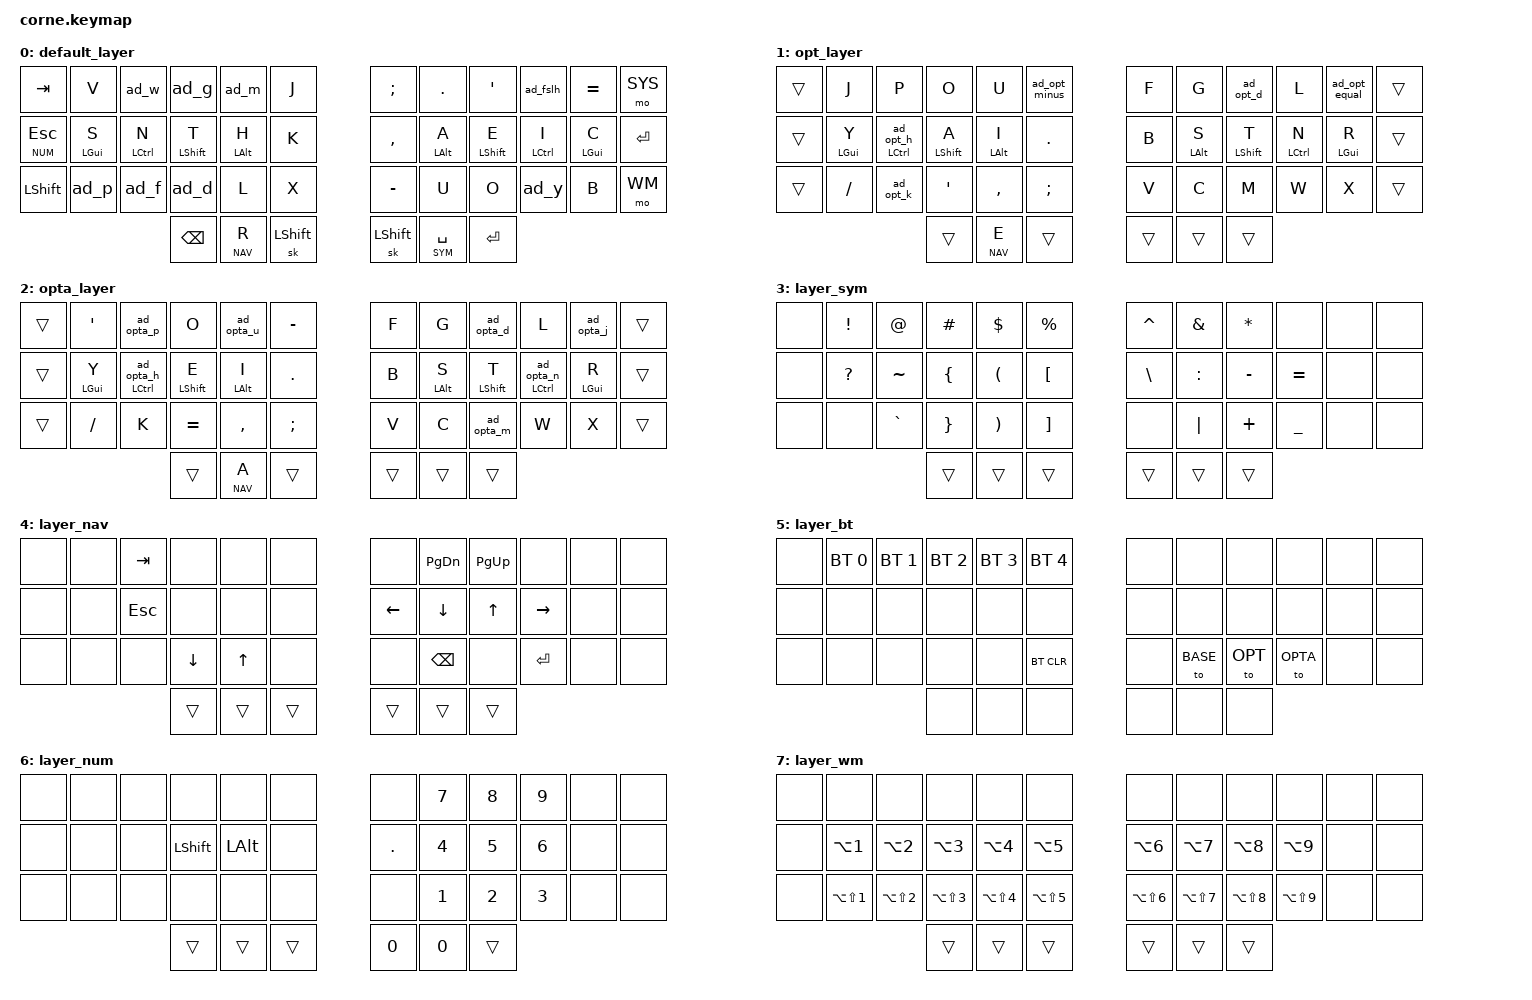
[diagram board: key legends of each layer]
/*
 * Copyright (c) 2020 The ZMK Contributors
 *
 * SPDX-License-Identifier: MIT
 */

#include <behaviors.dtsi>
#include <dt-bindings/zmk/keys.h>
#include <dt-bindings/zmk/bt.h>

#define BASE 0
#define OPT  1
#define OPTA 2
#define SYM  3
#define NAV  4
#define SYS  5
#define NUM  6
#define WM   7

&sk {
    release-after-ms = <1000>;
    quick-release;
};

/ {
    macros {
        m_wh: m_wh {
            compatible = "zmk,behavior-macro";
            #binding-cells = <0>;
            wait-ms = <0>;
            tap-ms = <0>;
            bindings = <&macro_tap &kp W &kp H>;
        };
        m_th: m_th {
            compatible = "zmk,behavior-macro";
            #binding-cells = <0>;
            wait-ms = <0>;
            tap-ms = <0>;
            bindings = <&macro_tap &kp T &kp H>;
        };
        m_ch: m_ch {
            compatible = "zmk,behavior-macro";
            #binding-cells = <0>;
            wait-ms = <0>;
            tap-ms = <0>;
            bindings = <&macro_tap &kp C &kp H>;
        };
        m_sh: m_sh {
            compatible = "zmk,behavior-macro";
            #binding-cells = <0>;
            wait-ms = <0>;
            tap-ms = <0>;
            bindings = <&macro_tap &kp S &kp H>;
        };
        m_ph: m_ph {
            compatible = "zmk,behavior-macro";
            #binding-cells = <0>;
            wait-ms = <0>;
            tap-ms = <0>;
            bindings = <&macro_tap &kp P &kp H>;
        };
        m_gh: m_gh {
            compatible = "zmk,behavior-macro";
            #binding-cells = <0>;
            wait-ms = <0>;
            tap-ms = <0>;
            bindings = <&macro_tap &kp G &kp H>;
        };
        m_qu: m_qu {
            compatible = "zmk,behavior-macro";
            #binding-cells = <0>;
            wait-ms = <0>;
            tap-ms = <0>;
            bindings = <&macro_tap &kp Q &kp U>;
        };
        m_lg: m_lg {
            compatible = "zmk,behavior-macro";
            #binding-cells = <0>;
            wait-ms = <0>;
            tap-ms = <0>;
            bindings = <&macro_tap &kp BSPC &kp L &kp G>;
        };
        m_mp: m_mp {
            compatible = "zmk,behavior-macro";
            #binding-cells = <0>;
            wait-ms = <0>;
            tap-ms = <0>;
            bindings = <&macro_tap &kp BSPC &kp M &kp P>;
        };
        m_wd: m_wd {
            compatible = "zmk,behavior-macro";
            #binding-cells = <0>;
            wait-ms = <0>;
            tap-ms = <0>;
            bindings = <&macro_tap &kp BSPC &kp W &kp D>;
        };
        m_pg: m_pg {
            compatible = "zmk,behavior-macro";
            #binding-cells = <0>;
            wait-ms = <0>;
            tap-ms = <0>;
            bindings = <&macro_tap &kp BSPC &kp P &kp G>;
        };
        m_iw: m_iw {
            compatible = "zmk,behavior-macro";
            #binding-cells = <0>;
            wait-ms = <0>;
            tap-ms = <0>;
            bindings = <&macro_tap &kp BSPC &kp I &kp W>;
        };
        m_sp: m_sp {
            compatible = "zmk,behavior-macro";
            #binding-cells = <0>;
            wait-ms = <0>;
            tap-ms = <0>;
            bindings = <&macro_tap &kp BSPC &kp S &kp P>;
        };
    };

    combos {
        compatible = "zmk,combos";
        combo_z {
            timeout-ms = <45>;
            layers = <BASE>;
            key-positions = <2 3>;
            bindings = <&kp Z>;
        };
        combo_q {
            timeout-ms = <45>;
            layers = <BASE>;
            key-positions = <3 4>;
            bindings = <&kp Q>;
        };
        combo_qu {
            timeout-ms = <45>;
            layers = <BASE>;
            key-positions = <2 4>;
            bindings = <&m_qu>;
        };
        // OPT and OPTA layers: same finger pattern as BASE, mirrored onto the right bottom row
        // (C index, M middle, W ring); these letter pairs are under 0.01% of English bigrams
        combo_z_opt {
            timeout-ms = <45>;
            layers = <OPT OPTA>;
            key-positions = <32 33>; // M + W
            bindings = <&kp Z>;
        };
        combo_q_opt {
            timeout-ms = <45>;
            layers = <OPT OPTA>;
            key-positions = <31 32>; // C + M
            bindings = <&kp Q>;
        };
        combo_qu_opt {
            timeout-ms = <45>;
            layers = <OPT OPTA>;
            key-positions = <31 33>; // C + W
            bindings = <&m_qu>;
        };
    };

    behaviors {
        hm: homerow_mods {
            compatible = "zmk,behavior-hold-tap";
            label = "HOMEROW_MODS";
            #binding-cells = <2>;
            tapping-term-ms = <200>;
            quick_tap_ms = <175>;
            flavor = "tap-preferred";
            bindings = <&kp>, <&kp>;
        };

        ad_m: adaptive_m {
            compatible = "zmk,behavior-antecedent-morph";
            label = "ADAPTIVE_M";
            #binding-cells = <0>;
            defaults = <&kp M>;
            bindings = <&kp L>, <&kp L>;
            antecedents = <G P>;
            max-delay-ms = <200>;
        };

        ad_g: adaptive_g {
            compatible = "zmk,behavior-antecedent-morph";
            label = "ADAPTIVE_G";
            #binding-cells = <0>;
            defaults = <&kp G>;
            bindings = <&m_lg>, <&m_pg>;
            antecedents = <M W>;
            max-delay-ms = <200>;
        };

        ad_ha: adaptive_ha {
            compatible = "zmk,behavior-antecedent-morph";
            label = "ADAPTIVE_H";
            #binding-cells = <0>;
            defaults = <&kp H>;
            bindings = <&kp U>, <&kp U>;
            antecedents = <A>;
            max-delay-ms = <200>;
        };

        ad_a: adaptive_a {
            compatible = "zmk,behavior-antecedent-morph";
            label = "ADAPTIVE_A";
            #binding-cells = <0>;
            defaults = <&kp A>;
            bindings = <&kp U>, <&kp U>;
            antecedents = <H>;
            max-delay-ms = <200>;
        };

        ad_f: adaptive_f {
            compatible = "zmk,behavior-antecedent-morph";
            label = "ADAPTIVE_F";
            #binding-cells = <0>;
            defaults = <&kp F>;
            bindings = <&kp G>, <&kp S>;
            antecedents = <D B>;
            max-delay-ms = <200>;
        };

        ad_p: adaptive_p {
            compatible = "zmk,behavior-antecedent-morph";
            label = "ADAPTIVE_P";
            #binding-cells = <0>;
            defaults = <&kp P>;
            bindings = <&m_sp>;
            antecedents = <F>;
            max-delay-ms = <200>;
        };

        ad_y: adaptive_y {
            compatible = "zmk,behavior-antecedent-morph";
            label = "ADAPTIVE_Y";
            #binding-cells = <0>;
            defaults = <&kp Y>;
            bindings = <&kp I>;
            antecedents = <W>;
            max-delay-ms = <200>;
        };

        ad_w: adaptive_w {
            compatible = "zmk,behavior-antecedent-morph";
            label = "ADAPTIVE_W";
            #binding-cells = <0>;
            defaults = <&kp W>;
            bindings = <&m_iw>;
            antecedents = <Y>;
            max-delay-ms = <200>;
        };

        ad_d: adaptive_d {
            compatible = "zmk,behavior-antecedent-morph";
            label = "ADAPTIVE_D";
            #binding-cells = <0>;
            defaults = <&kp D>;
            bindings = <&m_wd>;
            antecedents = <F>;
            max-delay-ms = <200>;
        };

        ad_fslh: adaptive_fslh {
            compatible = "zmk,behavior-antecedent-morph";
            label = "ADAPTIVE_FSLH";
            #binding-cells = <0>;
            defaults = <&kp FSLH>;
            bindings = <&kp U>;
            antecedents = <A>;
            max-delay-ms = <200>;
        };

        // OPT layer adaptives: the four that remove the most same-finger load (sc, wn, bl, ui)
        ad_opt_d: adaptive_opt_d {
            compatible = "zmk,behavior-antecedent-morph";
            #binding-cells = <0>;
            defaults = <&kp D>;
            bindings = <&kp C>;       // S then D types "sc"
            antecedents = <S>;
            max-delay-ms = <200>;
        };

        ad_opt_k: adaptive_opt_k {
            compatible = "zmk,behavior-antecedent-morph";
            #binding-cells = <0>;
            defaults = <&kp K>;
            bindings = <&kp N>;       // W then K types "wn"
            antecedents = <W>;
            max-delay-ms = <200>;
        };

        ad_opt_h: adaptive_opt_h {
            compatible = "zmk,behavior-antecedent-morph";
            #binding-cells = <0>;
            defaults = <&kp H>;
            bindings = <&kp L>, <&kp I>, <&kp M>;   // B,H -> "bl"   U,H -> "ui"   L,H -> "lm"
            antecedents = <B U L>;
            max-delay-ms = <200>;
        };

        ad_opt_minus: adaptive_opt_minus {
            compatible = "zmk,behavior-antecedent-morph";
            #binding-cells = <0>;
            defaults = <&kp MINUS>;
            bindings = <&kp E>;       // E then - types "ee" (no double-tap on the thumb)
            antecedents = <E>;
            max-delay-ms = <200>;     // a little longer: thumb-to-index rolls start from a layer-tap
        };

        ad_opt_equal: adaptive_opt_equal {
            compatible = "zmk,behavior-antecedent-morph";
            #binding-cells = <0>;
            defaults = <&kp EQUAL>;
            bindings = <&kp K>;       // O then = types "ok" (no ring/middle scissor)
            antecedents = <O>;
            max-delay-ms = <200>;
        };

        // home-row mod whose tap is the adaptive H (used as &hm_opt_h LCTRL 0)
        hm_opt_h: homerow_mod_opt_h {
            compatible = "zmk,behavior-hold-tap";
            #binding-cells = <2>;
            tapping-term-ms = <200>;
            quick-tap-ms = <175>;
            flavor = "tap-preferred";
            bindings = <&kp>, <&ad_opt_h>;
        };

        // OPTA layer adaptives (analyzer greedy search): sc, bl, ui, wn, cl, eo, ph, ok
        ad_opta_d: adaptive_opta_d {
            compatible = "zmk,behavior-antecedent-morph";
            #binding-cells = <0>;
            defaults = <&kp D>;
            bindings = <&kp C>;       // S then D types "sc"
            antecedents = <S>;
            max-delay-ms = <200>;
        };

        ad_opta_h: adaptive_opta_h {
            compatible = "zmk,behavior-antecedent-morph";
            #binding-cells = <0>;
            defaults = <&kp H>;
            bindings = <&kp L>, <&kp I>;   // B,H -> "bl"   U,H -> "ui"
            antecedents = <B U>;
            max-delay-ms = <200>;
        };

        ad_opta_m: adaptive_opta_m {
            compatible = "zmk,behavior-antecedent-morph";
            #binding-cells = <0>;
            defaults = <&kp M>;
            bindings = <&kp N>;       // W then M types "wn"
            antecedents = <W>;
            max-delay-ms = <200>;
        };

        ad_opta_p: adaptive_opta_p {
            compatible = "zmk,behavior-antecedent-morph";
            #binding-cells = <0>;
            defaults = <&kp P>;
            bindings = <&kp L>;       // C then P types "cl" (no index-to-ring scissor)
            antecedents = <C>;
            max-delay-ms = <200>;
        };

        ad_opta_u: adaptive_opta_u {
            compatible = "zmk,behavior-antecedent-morph";
            #binding-cells = <0>;
            defaults = <&kp U>;
            bindings = <&kp O>;       // E then U types "eo" (for "eu", pause after E)
            antecedents = <E>;
            max-delay-ms = <200>;
        };

        ad_opta_n: adaptive_opta_n {
            compatible = "zmk,behavior-antecedent-morph";
            #binding-cells = <0>;
            defaults = <&kp N>;
            bindings = <&kp H>;       // P then N types "ph"
            antecedents = <P>;
            max-delay-ms = <200>;
        };

        ad_opta_j: adaptive_opta_j {
            compatible = "zmk,behavior-antecedent-morph";
            #binding-cells = <0>;
            defaults = <&kp J>;
            bindings = <&kp K>;       // O then J types "ok" (for "oj" as in project, pause after O)
            antecedents = <O>;
            max-delay-ms = <200>;
        };

        // home-row mods whose taps are OPTA adaptives (used as &hm_opta_x MOD 0)
        hm_opta_h: homerow_mod_opta_h {
            compatible = "zmk,behavior-hold-tap";
            #binding-cells = <2>;
            tapping-term-ms = <200>;
            quick-tap-ms = <175>;
            flavor = "tap-preferred";
            bindings = <&kp>, <&ad_opta_h>;
        };

        hm_opta_n: homerow_mod_opta_n {
            compatible = "zmk,behavior-hold-tap";
            #binding-cells = <2>;
            tapping-term-ms = <200>;
            quick-tap-ms = <175>;
            flavor = "tap-preferred";
            bindings = <&kp>, <&ad_opta_n>;
        };
    };

    keymap {
        compatible = "zmk,keymap";

        // Layer 0: Default
        // ╭─────────────────────────────────────────────╮ ╭─────────────────────────────────────────────╮
        // │  TAB  │   V   │   W   │  ad_g │  ad_m │   J  │ │  SEMI │   .   │   '   │  FSLH │   =   │  BSPC │
        // │ ESC/4 │ S/GUI │ N/CTL │ T/SFT │ H/ALT │   K  │ │  ,    │ A/ALT │ E/SFT │ I/CTL │ C/GUI │  BSLH │
        // │ LSHFT │  ad_p │  ad_f │  ad_d │   L   │   X  │ │  -    │   U   │   O   │  ad_y │   B   │ RSHFT │
        // ╰───────────────────╮  lt2 R │  mo4  │ BSPC  │ │ SPACE │ sk LSFT│ ENTER ╭───────────────────╯
        //                     ╰────────────────────────╯ ╰───────────────────────╯

        default_layer {
            bindings = <
   &kp TAB     &kp V          &ad_w        &ad_g         &ad_m       &kp J         &kp SEMICOLON  &kp PERIOD  &kp APOS      &ad_fslh     &kp EQUAL   &mo SYS
   &lt NUM ESC &hm LGUI S     &hm LCTRL N  &hm LSHIFT T  &hm LALT H  &kp K         &kp COMMA      &hm LALT A  &hm LSHIFT E  &hm LCTRL I  &hm LGUI C  &kp ENTER
   &kp LSHFT   &ad_p          &ad_f        &ad_d         &kp L       &kp X         &kp MINUS      &kp U       &kp O         &ad_y        &kp B       &mo WM
                                           &kp BSPC      &lt NAV R   &sk LSHFT     &sk LSHFT      &lt SYM SPACE &kp ENTER
            >;
        };

        // Layer 1: OPT (alternate base, &to OPT from the system layer)
        // Analyzer optimum (tools/layout-analyzer): E on the thumb, vowels on the left hand.
        // Combos on this layer: Z = M+W, Q = C+M, QU = C+W (right bottom row).
        // Adaptives: S,D -> sc   W,K -> wn   B,H -> bl   U,H -> ui   L,H -> lm   E,- -> ee   O,= -> ok
        // ╭───────────────────────────────────────╮ ╭───────────────────────────────────────╮
        // │       │  J  │  P  │  O  │  U  │  -  │ │  F  │  G  │  D  │  L  │  =  │       │
        // │       │ Y/G │ H/C │ A/S │ I/A │  .  │ │  B  │ S/A │ T/S │ N/C │ R/G │       │
        // │       │  /  │  K  │  '  │  ,  │  ;  │ │  V  │  C  │  M  │  W  │  X  │       │
        // ╰───────────────────╮   BSPC   │ E/NAV │ SHFT │ │ SHFT │ SPC/SYM │ ENT ╭───────────────────╯
        opt_layer {
            bindings = <
   &trans  &kp J          &kp P          &kp O           &kp U          &ad_opt_minus &kp F       &kp G          &ad_opt_d       &kp L          &ad_opt_equal &trans
   &trans  &hm LGUI Y     &hm_opt_h LCTRL 0 &hm LSHIFT A    &hm LALT I     &kp PERIOD    &kp B       &hm LALT S     &hm LSHIFT T    &hm LCTRL N    &hm LGUI R    &trans
   &trans  &kp FSLH       &ad_opt_k      &kp APOS        &kp COMMA      &kp SEMI      &kp V       &kp C          &kp M           &kp W          &kp X         &trans
                                         &trans          &lt NAV E      &trans        &trans      &trans         &trans
            >;
        };

        // Layer 2: OPTA (alternate base, &to OPTA from the system layer)
        // OPT with A on the thumb and E on the home row: lighter thumb (8% vs 12%), no thumb doubles.
        // Right-hand consonants and combos match OPT (Z = M+W, Q = C+M, QU = C+W).
        // Adaptives: S,D -> sc   B,H -> bl   U,H -> ui   W,M -> wn   C,P -> cl   E,U -> eo   P,N -> ph   O,J -> ok
        // ╭───────────────────────────────────────╮ ╭───────────────────────────────────────╮
        // │       │  '  │  P  │  O  │  U  │  -  │ │  F  │  G  │  D  │  L  │  J  │       │
        // │       │ Y/G │ H/C │ E/S │ I/A │  .  │ │  B  │ S/A │ T/S │ N/C │ R/G │       │
        // │       │  /  │  K  │  =  │  ,  │  ;  │ │  V  │  C  │  M  │  W  │  X  │       │
        // ╰───────────────────╮   BSPC   │ A/NAV │ SHFT │ │ SHFT │ SPC/SYM │ ENT ╭───────────────────╯
        opta_layer {
            bindings = <
   &trans  &kp APOS       &ad_opta_p     &kp O           &ad_opta_u     &kp MINUS     &kp F       &kp G          &ad_opta_d      &kp L          &ad_opta_j    &trans
   &trans  &hm LGUI Y     &hm_opta_h LCTRL 0 &hm LSHIFT E &hm LALT I    &kp PERIOD    &kp B       &hm LALT S     &hm LSHIFT T    &hm_opta_n LCTRL 0 &hm LGUI R  &trans
   &trans  &kp FSLH       &kp K          &kp EQUAL       &kp COMMA      &kp SEMI      &kp V       &kp C          &ad_opta_m      &kp W          &kp X         &trans
                                         &trans          &lt NAV A      &trans        &trans      &trans         &trans
            >;
        };

        // Layer 3: Symbols (right thumb space hold)
        // Mirrors your layer_keypad symbols
        layer_sym {
            bindings = <
   &none   &kp EXCL   &kp AT     &kp HASH   &kp DLLR   &kp PRCNT      &kp CARET  &kp AMPS   &kp STAR   &none      &none      &none
   &none   &kp QMARK  &kp TILDE  &kp LBRC   &kp LPAR   &kp LBKT       &kp BSLH   &kp COLON  &kp MINUS  &kp EQUAL  &none      &none
   &none   &none      &kp GRAVE  &kp RBRC   &kp RPAR   &kp RBKT       &none      &kp PIPE   &kp PLUS   &kp UNDER  &none      &none
                                 &trans      &trans     &trans         &trans     &trans     &trans
            >;
        };

        // Layer 4: Nav (left thumb hold)
        // Arrow keys, page nav — mirrors layer_fn
        layer_nav {
            bindings = <
   &none   &none   &kp TAB   &none      &none    &none        &none      &kp PG_DN  &kp PG_UP  &none      &none   &none
   &none   &none   &kp ESC   &none      &none    &none        &kp LEFT   &kp DOWN   &kp UP     &kp RIGHT  &none   &none
   &none   &none   &none     &kp DOWN   &kp UP   &none        &none      &kp BSPC   &none      &kp ENTER  &none   &none
                             &trans     &trans   &trans       &trans     &trans     &trans
            >;
        };

        // Layer 5: Bluetooth / System (top-right outer key); bottom row right: &to BASE / &to OPT / &to OPTA
        layer_bt {
            bindings = <
   &none   &bt BT_SEL 0  &bt BT_SEL 1  &bt BT_SEL 2  &bt BT_SEL 3  &bt BT_SEL 4      &none   &none   &none   &none   &none   &none
   &none   &none         &none         &none         &none         &none             &none   &none   &none   &none   &none   &none
   &none   &none         &none         &none         &none         &bt BT_CLR        &none   &to BASE &to OPT &to OPTA &none  &none
                                       &none         &none         &none             &none   &none   &none
            >;
        };

        // Layer 6: Numpad (ESC hold)
        // Mirrors layer_num
        layer_num {
            bindings = <
   &none   &none   &none   &none     &none      &none        &none       &kp N7  &kp N8  &kp N9  &none   &none
   &none   &none   &none   &kp LSHFT &kp LALT   &none        &kp PERIOD  &kp N4  &kp N5  &kp N6  &none   &none
   &none   &none   &none   &none     &none      &none        &none       &kp N1  &kp N2  &kp N3  &none   &none
                           &trans    &trans     &trans       &kp N0      &kp N0  &trans
            >;
        };

        // Layer 7: Window manager
        layer_wm {
            bindings = <
   &none  &none  &none  &none  &none  &none      &none  &none  &none  &none  &none  &none
   &none  &kp LA(N1)  &kp LA(N2)  &kp LA(N3)  &kp LA(N4)  &kp LA(N5)      &kp LA(N6)  &kp LA(N7)  &kp LA(N8)  &kp LA(N9)  &none  &none
   &none  &kp LA(LS(N1))  &kp LA(LS(N2))  &kp LA(LS(N3))  &kp LA(LS(N4))  &kp LA(LS(N5))      &kp LA(LS(N6))  &kp LA(LS(N7))  &kp LA(LS(N8))  &kp LA(LS(N9))  &none  &none
                  &trans  &trans  &trans      &trans  &trans  &trans
            >;
        };
    };
};
